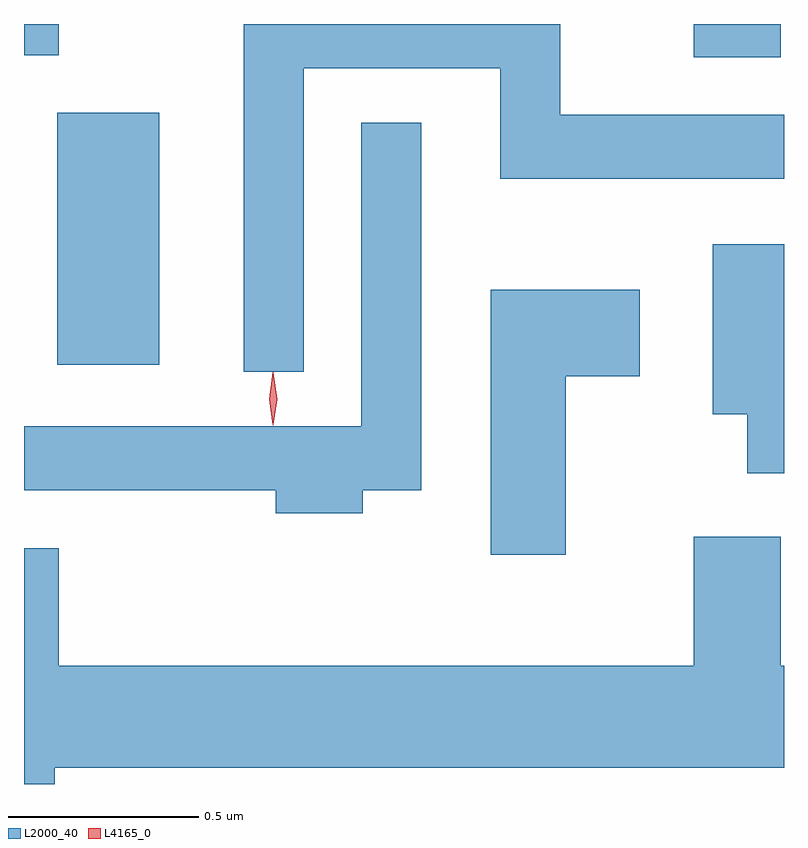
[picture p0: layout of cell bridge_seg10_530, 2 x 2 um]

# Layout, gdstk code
import gdstk
lib = gdstk.Library(unit=1e-6, precision=1e-09)
def R(c, l, rs):  # rectangles x0, y0, x1, y1
    for r in rs: c.add(gdstk.rectangle(r[:2], r[2:], *l))
def P(c, l, *ps):  # polygons
    for p in ps: c.add(gdstk.Polygon(p, *l))
L2000_40 = (2000, 40)
L4165_0 = (4165, 0)

bridge_seg10_530 = lib.new_cell('bridge_seg10_530')
R(bridge_seg10_530, L2000_40, [(899.396,2166.036,899.664,2166.699), (901.071,2166.846,901.299,2166.933), (899.308,2166.851,899.399,2166.933)])
P(bridge_seg10_530, L2000_40, [(900.044,2166.816),(900.561,2166.816),(900.561,2166.526),(901.308,2166.526),(901.308,2166.694),(900.719,2166.694),(900.719,2166.933),(899.886,2166.933),(899.886,2166.018),(900.044,2166.018)],
  [(900.199,2165.706),(900.354,2165.706),(900.354,2166.673),(900.196,2166.673),(900.196,2165.874),(899.308,2165.874),(899.308,2165.706),(899.971,2165.706),(899.971,2165.646),(900.199,2165.646)],
  [(901.308,2166.354),(901.121,2166.354),(901.121,2165.906),(901.211,2165.906),(901.211,2165.751),(901.308,2165.751)],
  [(900.734,2166.006),(900.929,2166.006),(900.929,2166.234),(900.536,2166.234),(900.536,2165.536),(900.734,2165.536)],
  [(899.389,2164.976),(901.308,2164.976),(901.308,2165.244),(901.299,2165.244),(901.299,2165.584),(901.071,2165.584),(901.071,2165.244),(899.399,2165.244),(899.399,2165.554),(899.308,2165.554),(899.308,2164.933),(899.389,2164.933)])
P(bridge_seg10_530, L4165_0, [(899.964,2165.877),(899.963,2165.878),(899.954,2165.946),(899.963,2166.016),(899.964,2166.016),(899.964,2166.016),(899.974,2165.946),(899.964,2165.878)],
  [(899.964,2165.879),(899.963,2165.88),(899.954,2165.946),(899.963,2166.012),(899.964,2166.013),(899.964,2166.012),(899.974,2165.946),(899.964,2165.88)])

lib.write_gds('bridge_seg10_530.gds')
